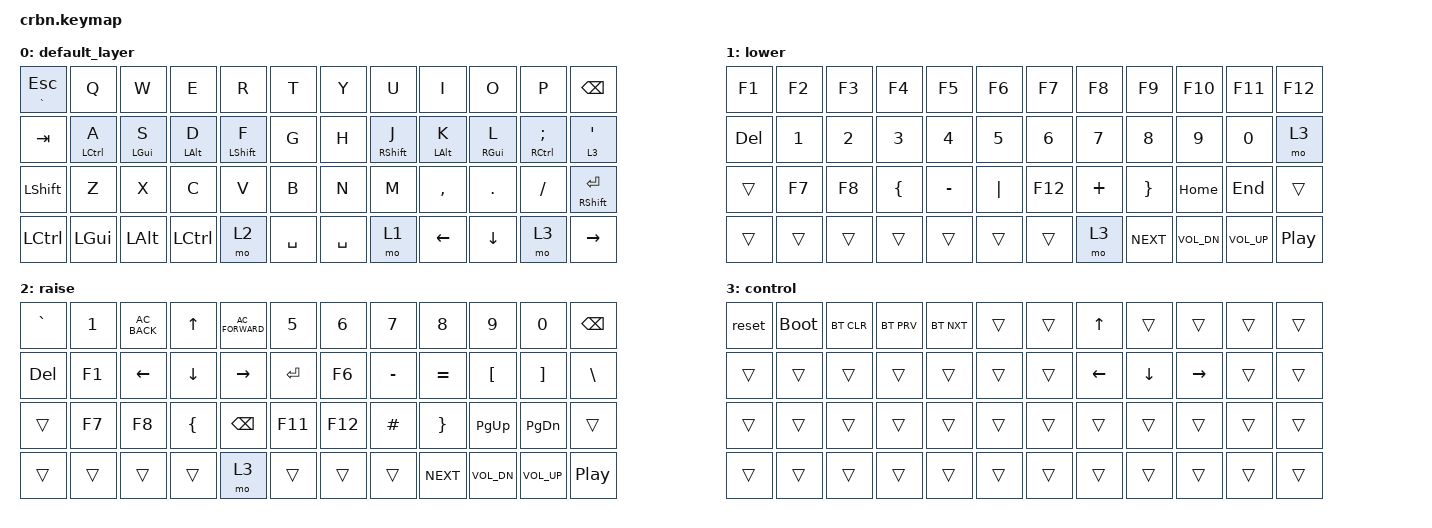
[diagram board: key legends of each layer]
/*
 * Copyright (c) 2020 The ZMK Contributors
 *
 * SPDX-License-Identifier: MIT
 */

#include <behaviors.dtsi>
#include <dt-bindings/zmk/keys.h>
#include <dt-bindings/zmk/bt.h>




/ {
    behaviors {
        hm: homerow_mods {
            compatible = "zmk,behavior-hold-tap";
            label = "HOMEROW_MODS";
            #binding-cells = <2>;
            tapping_term_ms = <150>;
            flavor = "tap-preferred";
            bindings = <&kp>, <&kp>;
        };
    };

    keymap {
        compatible = "zmk,keymap";

       default_layer {
				// -----------------------------------------------------------------------------------------
				// |  TAB  |  Q   |  W   |  E   |  R   |  T   |   Y   |  U    |  I   |  O   |   P   | BSPC  |
				// |  ESC  |  A   |  S   |  D   |  F   |  G   |   H   |  J    |  K   |  L   |   ;   |  '    |
				// | SHIFT |  Z   |  X   |  C   |  V   |  B   |   N   |  M    |  ,   |  .   |   /   |  RET  |
				// | FN    | LGUI | LALT | LCTL | LOWR |     SPACE    |  RAIS | LARW | DARW | UARW  |  RARW |
			bindings = <
				&hm GRAVE ESC  &kp Q    &kp W &kp E &kp R &kp T  &kp Y   &kp U  &kp I    &kp O   &kp P    &kp BSPC
				&kp TAB   &hm LCTRL A &hm LGUI S &hm LALT D &hm LSHFT F &kp G  &kp H   &hm RSHFT J  &hm LALT K &hm RGUI L &hm RCTL SEMI &lt 3 SQT
				&kp LSHFT &kp Z    &kp X &kp C &kp V &kp B  &kp N   &kp M  &kp COMMA &kp DOT &kp SLASH &mt RSHFT RET
				&kp LCTL    &kp LGUI &kp LALT &kp LCTRL &mo 2 &kp SPACE &kp SPACE &mo 1 &kp LEFT &kp DOWN &mo 3 &kp RIGHT
			>;
		};

    lower {
			bindings = <
				&kp F1 &kp F2 &kp F3 &kp F4 &kp F5 &kp F6 &kp F7 &kp F8 &kp F9 &kp F10 &kp F11 &kp F12
				&kp DEL &kp N1 &kp N2 &kp N3 &kp N4 &kp N5 &kp N6 &kp N7 &kp N8 &kp N9 &kp N0 &mo 3
				&trans &kp F7 &kp F8 &kp LEFT_BRACE &kp MINUS &kp PIPE &kp F12 &kp PLUS &kp RIGHT_BRACE &kp HOME &kp END &trans
				&trans &trans &trans &trans &trans &trans &trans &mo 3 &kp C_NEXT &kp C_VOL_DN &kp C_VOL_UP &kp C_PP
			>;
    };

    raise {
			bindings = <
				&kp GRAVE &kp N1 &kp C_AC_BACK &kp UP &kp C_AC_FORWARD  &kp N5 &kp N6 &kp N7 &kp N8 &kp N9 &kp N0 &kp BSPC
				&kp DEL &kp F1 &kp LEFT &kp DOWN &kp RIGHT &kp RET &kp F6 &kp MINUS &kp EQUAL &kp LBKT &kp RBKT &kp BSLH
                &trans &kp F7 &kp F8 &kp LEFT_BRACE &kp BSPC &kp F11 &kp F12 &kp HASH &kp RIGHT_BRACE &kp PG_UP &kp PG_DN &trans
				&trans &trans &trans &trans &mo 3 &trans &trans &trans &kp C_NEXT &kp C_VOL_DN &kp C_VOL_UP &kp C_PP
    	>;
    };
		control {
			bindings = <
				&reset &bootloader &bt BT_CLR &bt BT_PRV &bt BT_NXT &trans &trans &kp UP &trans &trans &trans &trans
				&trans &trans &trans &trans &trans &trans &trans &kp LEFT &kp DOWN &kp RIGHT &trans &trans
				&trans &trans &trans &trans &trans &trans &trans &trans &trans &trans &trans &trans
				&trans &trans &trans &trans &trans &trans &trans &trans &trans &trans &trans &trans
    	>;
   
            
        };
            };
};
